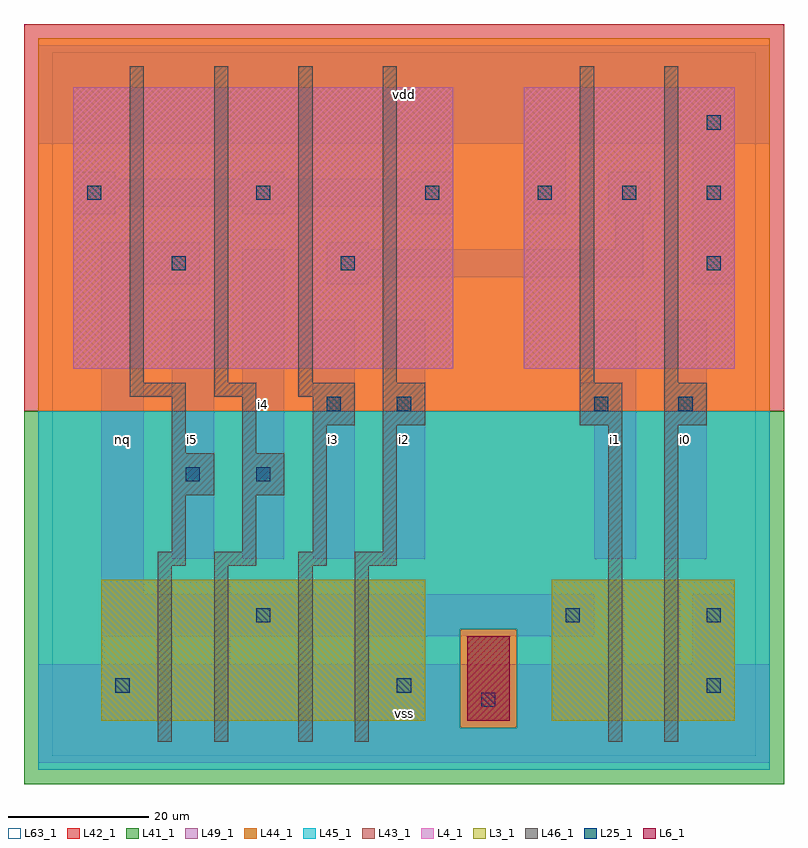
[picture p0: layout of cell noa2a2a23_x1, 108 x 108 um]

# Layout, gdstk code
import gdstk
lib = gdstk.Library(unit=1e-6, precision=1e-09)
def R(c, l, rs):  # rectangles x0, y0, x1, y1
    for r in rs: c.add(gdstk.rectangle(r[:2], r[2:], *l))
def A(c, l, x, y, w, h, nx, ny, dx, dy):  # array of equal rectangles
    R(c, l, [(x+i*dx, y+j*dy, x+i*dx+w, y+j*dy+h) for i in range(nx) for j in range(ny)])
L3_1 = (3, 1)
L4_1 = (4, 1)
L6_1 = (6, 1)
L25_1 = (25, 1)
L41_1 = (41, 1)
L42_1 = (42, 1)
L43_1 = (43, 1)
L44_1 = (44, 1)
L45_1 = (45, 1)
L46_1 = (46, 1)
L49_1 = (49, 1)
L63_1 = (63, 1)

noa2a2a23_x1 = lib.new_cell('noa2a2a23_x1')
R(noa2a2a23_x1, L3_1, [(7,5,53,25), (71,5,97,25)])
R(noa2a2a23_x1, L4_1, [(3,55,57,95), (67,55,97,95)])
R(noa2a2a23_x1, L6_1, [(59,5,65,17)])
A(noa2a2a23_x1, L25_1, 5, 79, 2, 2, 3, 1, 24, 0)
A(noa2a2a23_x1, L25_1, 69, 79, 2, 2, 3, 1, 12, 0)
R(noa2a2a23_x1, L25_1, [(61,7,63,9), (9,9,11,11), (49,9,51,11), (93,9,95,11), (29,19,31,21), (73,19,75,21), (93,19,95,21), (19,39,21,41), (29,39,31,41), (39,49,41,51), (49,49,51,51), (77,49,79,51), (89,49,91,51), (17,69,19,71), (41,69,43,71), (93,69,95,71), (93,89,95,91)])
R(noa2a2a23_x1, L41_1, [(-4,-4,104,49)])
R(noa2a2a23_x1, L42_1, [(-4,49,104,104)])
R(noa2a2a23_x1, L43_1, [(7,5,53,25), (59,5,65,17), (71,5,97,25), (3,55,57,95), (67,55,97,95)])
R(noa2a2a23_x1, L44_1, [(58,4,66,18), (-2,49,102,102)])
R(noa2a2a23_x1, L45_1, [(-2,-2,102,4), (-2,4,58,18), (66,4,102,18), (-2,18,102,49)])
A(noa2a2a23_x1, L46_1, 11, 53, 2, 45, 4, 1, 12, 0)
R(noa2a2a23_x1, L46_1, [(15,2,17,27), (23,2,25,27), (35,2,37,27), (43,2,45,27), (79,2,81,47), (87,2,89,47), (15,27,19,29), (23,27,29,29), (35,27,39,29), (43,27,49,29), (17,29,19,37), (27,29,29,37), (37,29,39,47), (47,29,49,47), (17,37,23,43), (27,37,33,43), (17,43,19,51), (27,43,29,51), (37,47,43,51), (47,47,53,53), (75,47,81,53), (87,47,93,53), (11,51,19,53), (23,51,29,53), (35,51,43,53), (75,53,77,98), (87,53,89,98)])
A(noa2a2a23_x1, L49_1, 3, 77, 6, 1, 3, 2, 24, 5)
R(noa2a2a23_x1, L49_1, [(-2,-1,102,13), (91,13,97,23), (7,17,77,23), (7,23,13,67), (17,28,23,62), (27,28,33,72), (37,28,43,62), (47,28,53,62), (77,28,83,47), (87,28,93,62), (75,47,83,53), (77,53,83,62), (7,67,21,73), (39,67,45,68), (91,67,97,87), (39,68,84,72), (39,72,45,73), (80,72,84,77), (67,77,73,87), (79,77,85,83), (3,78,57,82), (-2,87,102,101)])
R(noa2a2a23_x1, L63_1, [(0,0,100,100)])
noa2a2a23_x1.add(gdstk.Label('nq', (10,45), layer=49, texttype=1))
noa2a2a23_x1.add(gdstk.Label('i5', (20,45), layer=49, texttype=1))
noa2a2a23_x1.add(gdstk.Label('i5', (20,45), layer=49, texttype=1))
noa2a2a23_x1.add(gdstk.Label('nq', (10,45), layer=49, texttype=1))
noa2a2a23_x1.add(gdstk.Label('i3', (40,45), layer=49, texttype=1))
noa2a2a23_x1.add(gdstk.Label('i3', (40,45), layer=49, texttype=1))
noa2a2a23_x1.add(gdstk.Label('i4', (30,50), layer=49, texttype=1))
noa2a2a23_x1.add(gdstk.Label('i4', (30,50), layer=49, texttype=1))
noa2a2a23_x1.add(gdstk.Label('vss', (50,6), layer=49, texttype=1))
noa2a2a23_x1.add(gdstk.Label('vss', (50,6), layer=49, texttype=1))
noa2a2a23_x1.add(gdstk.Label('i2', (50,45), layer=49, texttype=1))
noa2a2a23_x1.add(gdstk.Label('i2', (50,45), layer=49, texttype=1))
noa2a2a23_x1.add(gdstk.Label('vdd', (50,94), layer=49, texttype=1))
noa2a2a23_x1.add(gdstk.Label('vdd', (50,94), layer=49, texttype=1))
noa2a2a23_x1.add(gdstk.Label('i1', (80,45), layer=49, texttype=1))
noa2a2a23_x1.add(gdstk.Label('i0', (90,45), layer=49, texttype=1))
noa2a2a23_x1.add(gdstk.Label('i0', (90,45), layer=49, texttype=1))
noa2a2a23_x1.add(gdstk.Label('i1', (80,45), layer=49, texttype=1))

lib.write_gds('noa2a2a23_x1.gds')
